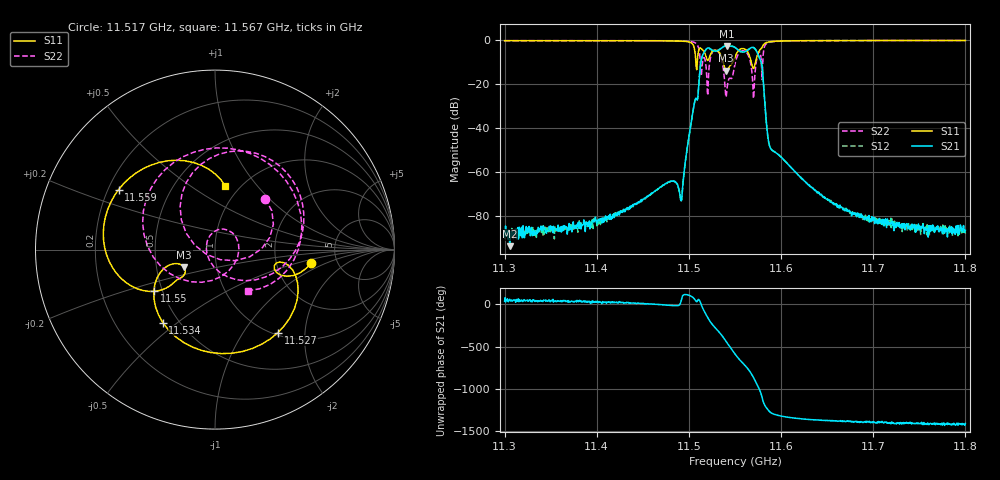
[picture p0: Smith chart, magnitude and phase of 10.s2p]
# Hz S DB R 50
! Planar, S50244, 24171007, 25.4.1/6
! Date: 15.10.2025 10:27:31
! Data: Format (Calibration Info)
! Freq	S11:dB/Ang(F2)	S21:dB/Ang(F2)	S12:dB/Ang(F2)	S22:dB/Ang(F2)
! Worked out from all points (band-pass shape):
!   1001 points, 11.3 GHz to 11.8 GHz, reference 50 ohm
!   highest |S21| = -2.70 dB at 11.541 GHz (marker M1); lowest = -93.9 dB at 11.306 GHz (marker M2)
!   |S21| within 3 dB of the highest: 11.51634 GHz to 11.57408 GHz (57.74 MHz wide, 0.5 % of centre)
!   lowest |S11| = -14.0 dB at 11.54 GHz (marker M3), VSWR 1.50, Z = 34.7 - j7.14 ohm
!   |S11| at or under -10 dB: 11.50755 GHz to 11.50909 GHz (1.546 MHz wide, 0.0134 % of centre); 11.53722 GHz to 11.5477 GHz (10.48 MHz wide, 0.0908 % of centre); 11.56764 GHz to 11.57228 GHz (4.64 MHz wide, 0.0401 % of centre)
!   |S22| runs from -26.6 to -0.2 dB; largest |S21 - S12| = 0.017
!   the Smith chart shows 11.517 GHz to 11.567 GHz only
!   S11 on the Smith chart (normalised r, x): 11.517 GHz: 3.21, -0.67; 11.527 GHz: 1.05, -1.46; 11.534 GHz: 0.41, -0.44; 11.55 GHz: 0.45, -0.25; 11.559 GHz: 0.24, +0.27; 11.567 GHz: 0.86, +0.70
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1.13e10  -0.32 145.0  -88.00 38.8  -89.53 69.7  -0.31 143.3
1.13055e10  -0.32 144.0  -93.86 61.0  -88.06 53.2  -0.31 142.3
1.13835e10  -0.33 126.4  -84.18 27.6  -84.57 35.5  -0.32 126.5
1.1467e10  -0.37 87.1  -67.64 -1.5  -67.50 -2.5  -0.34 94.7
1.1492e10  -0.53 50.5  -72.82 59.2  -72.94 62.9  -0.46 69.0
1.15025e10  -1.30 6.6  -37.40 95.2  -37.52 95.9  -0.76 43.4
1.1507e10  -7.04 -68.7  -26.88 47.3  -26.81 48.6  -1.36 19.8
1.15165e10  -5.32 -7.8  -5.58 -80.1  -5.69 -79.7  -8.01 45.2
1.15215e10  -8.74 -10.9  -3.62 -177.7  -3.78 -177.8  -14.67 150.4
1.1527e10  -4.73 -52.8  -4.96 101.2  -5.09 102.7  -4.80 71.8
1.15335e10  -6.02 -125.5  -4.27 22.3  -4.12 23.2  -6.51 5.1
1.15405e10  -14.04 -150.2  -2.71 -81.5  -2.69 -81.4  -25.82 163.2
1.1541e10  -13.98 -146.5  -2.70 -89.3  -2.69 -89.1  -23.73 131.1
1.155e10  -7.75 -145.5  -3.39 132.6  -3.39 132.7  -10.90 -152.1
1.15595e10  -3.98 148.1  -5.46 13.1  -5.32 13.4  -4.92 63.6
1.1567e10  -8.95 80.7  -3.63 -88.5  -3.60 -89.6  -10.62 -51.0
1.15715e10  -11.38 75.1  -3.86 -175.4  -3.89 -175.6  -16.25 70.1
1.1578e10  -4.04 -33.9  -9.50 31.7  -9.64 31.6  -7.26 -74.7
1.1589e10  -0.75 -127.1  -49.64 157.5  -49.61 157.5  -0.91 -109.3
1.16335e10  -0.31 162.3  -67.23 75.5  -67.27 75.3  -0.31 164.6
1.1717e10  -0.25 130.3  -83.38 32.3  -82.51 44.8  -0.24 129.8
1.18e10  -0.22 112.8  -86.59 31.0  -88.12 4.0  -0.21 112.3
